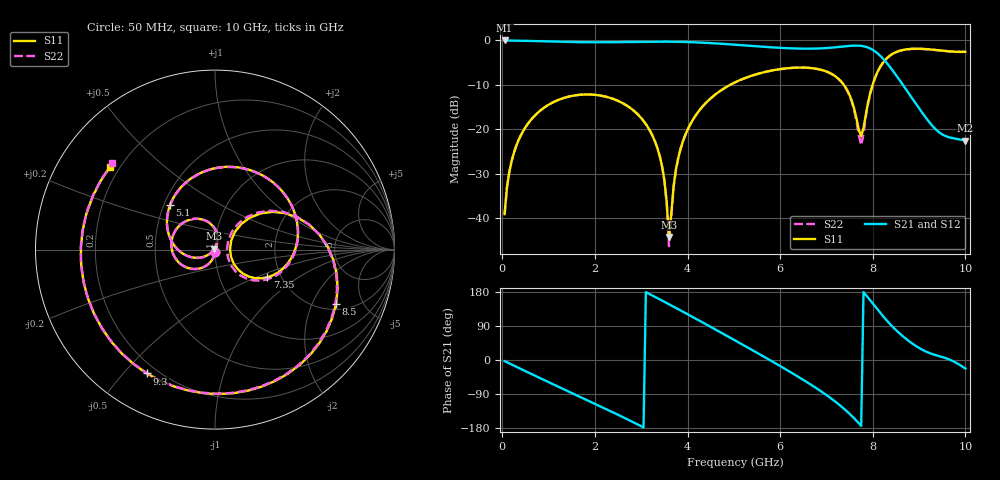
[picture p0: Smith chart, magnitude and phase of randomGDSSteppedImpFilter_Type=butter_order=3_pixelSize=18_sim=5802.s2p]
! freq	dB(S11)	phase(S11)	dB(S12)	phase(S12)
!  dB(S21)	phase(S21)	dB(S22)	phase(S22)
!S-par simulation data
#  GHz  S  DB  R 50
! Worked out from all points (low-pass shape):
!   200 points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, 50 MHz to 10 GHz, reference 50 ohm
!   highest |S21| = -0.01 dB at 50 MHz (marker M1); lowest = -22.5 dB at 10 GHz (marker M2)
!   |S21| within 3 dB of the highest: start of sweep to 8.113 GHz
!   lowest |S11| = -44.2 dB at 3.6 GHz (marker M3), VSWR 1.01, Z = 49.6 + j0.501 ohm
!   |S11| at or under -10 dB: start of sweep to 4.917 GHz; 7.376 GHz to 7.995 GHz (619.3 MHz wide, 8.06 % of centre)
!   |S22| runs from -46.2 to -1.9 dB; largest |S21 - S12| = 0
!   S11 on the Smith chart (normalised r, x): 50 MHz: 1.00, -0.02; 5.1 GHz: 0.54, +0.30; 7.35 GHz: 1.70, -0.59; 8.5 GHz: 2.30, -3.06; 9.3 GHz: 0.16, -0.58; 10 GHz: 0.16, +0.34
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0.05  -39.02 -91.9  -0.01 -3.0  -0.01 -3.0  -39.03 -91.9
0.2  -27.16 -101.7  -0.03 -11.9  -0.03 -11.9  -27.16 -101.7
0.5  -19.52 -119.8  -0.09 -29.5  -0.09 -29.5  -19.52 -119.8
1.75  -12.16 168.4  -0.40 -101.2  -0.40 -101.2  -12.16 168.2
2.7  -14.71 113.8  -0.35 -156.5  -0.35 -156.5  -14.71 113.3
3.4  -25.99 74.8  -0.27 160.1  -0.27 160.1  -26.01 72.8
3.6  -44.18 125.2  -0.28 147.2  -0.28 147.2  -46.23 118.4
3.75  -28.99 -141.8  -0.30 137.4  -0.30 137.4  -29.06 -139.2
3.95  -21.29 -150.0  -0.35 124.2  -0.35 124.2  -21.31 -149.1
5.05  -9.30 138.9  -0.97 50.0  -0.97 50.0  -9.31 138.6
5.1  -9.06 135.5  -1.01 46.6  -1.01 46.6  -9.07 135.2
5.9  -6.61 80.9  -1.60 -8.8  -1.60 -8.8  -6.61 80.1
6.7  -6.24 23.6  -1.84 -67.9  -1.84 -67.9  -6.26 22.1
7.35  -9.63 -27.9  -1.38 -125.6  -1.38 -125.6  -9.69 -30.9
7.75  -21.53 2.2  -1.22 -173.9  -1.22 -173.9  -23.53 1.2
8  -9.83 38.6  -2.13 149.0  -2.13 149.0  -9.96 40.7
8.35  -3.57 -5.1  -5.68 97.8  -5.68 97.8  -3.61 -5.1
8.5  -2.63 -24.1  -7.76 79.1  -7.76 79.1  -2.66 -24.4
8.9  -1.87 -71.1  -13.75 39.5  -13.75 39.5  -1.89 -72.1
9.3  -2.07 -118.8  -19.34 15.1  -19.34 15.1  -2.10 -120.4
9.65  -2.45 -166.2  -21.76 1.6  -21.76 1.6  -2.46 -168.2
10  -2.56 141.8  -22.50 -22.5  -22.50 -22.5  -2.54 140.0
